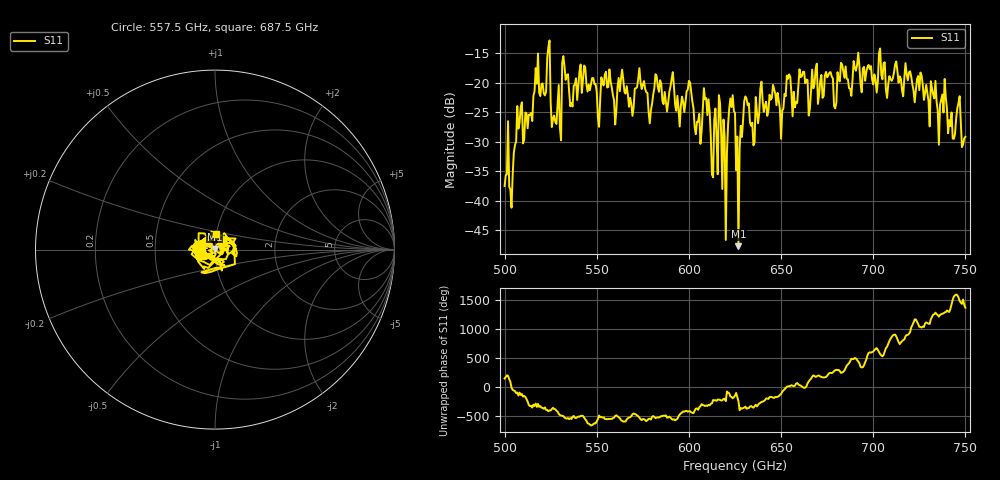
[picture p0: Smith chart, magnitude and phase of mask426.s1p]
!Created with skrf (http://scikit-rf.org).
# GHz S MA R 50.0
!freq magS11 angS11
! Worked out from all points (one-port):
!   401 points, 500 GHz to 750 GHz, reference 50 ohm
!   lowest |S11| = -47.7 dB at 626.9 GHz (marker M1), VSWR 1.01, Z = 49.8 + j0.374 ohm
!   |S11| at or under -10 dB: start of sweep to end of sweep
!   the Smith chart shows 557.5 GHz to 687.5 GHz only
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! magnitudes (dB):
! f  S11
! 500 GHz  -37.5
! 503.8 GHz  -41.2
! 508.1 GHz  -26.8
! 513.8 GHz  -25.5
! 516.9 GHz  -17.5
! 523.8 GHz  -13.9
! 526.9 GHz  -25.6
! 531.2 GHz  -16.6
! 562.5 GHz  -21.4
! 579.4 GHz  -24.7
! 590.6 GHz  -19.4
! 593.8 GHz  -22.2
! 600 GHz  -19.7
! 605 GHz  -26.6
! 609.4 GHz  -22.6
! 612.5 GHz  -35.6
! 617.5 GHz  -28.7
! 619.4 GHz  -29.1
! 622.5 GHz  -22.7
! 625 GHz  -25.2
! 626.9 GHz  -47.7
! 631.2 GHz  -22.7
! 634.4 GHz  -26.8
! 640 GHz  -23.1
! 656.2 GHz  -25.7
! 687.5 GHz  -21.0
! 718.8 GHz  -19.6
! 750 GHz  -29.2
